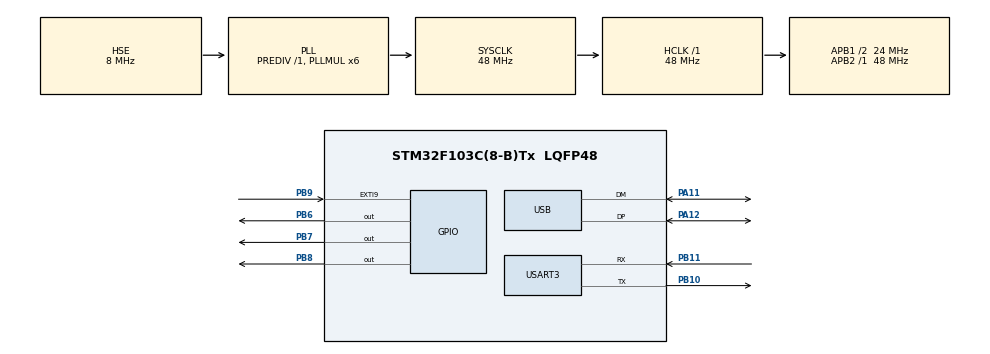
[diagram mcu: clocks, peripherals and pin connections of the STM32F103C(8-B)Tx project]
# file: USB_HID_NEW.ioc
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Mcu.Family=STM32F1
Mcu.Name=STM32F103C(8-B)Tx
Mcu.Package=LQFP48
NVIC.EXTI9_5_IRQn=true\:0\:0\:false\:false\:true\:true\:true
NVIC.PriorityGroup=NVIC_PRIORITYGROUP_4
NVIC.USART3_IRQn=true\:0\:0\:false\:false\:true\:true\:true
NVIC.USB_LP_CAN1_RX0_IRQn=true\:0\:0\:false\:false\:true\:false\:true
PA11.Mode=Device
PA11.Signal=USB_DM
PA12.Mode=Device
PA12.Signal=USB_DP
PA13.Mode=Serial_Wire
PA13.Signal=SYS_JTMS-SWDIO
PA14.Mode=Serial_Wire
PA14.Signal=SYS_JTCK-SWCLK
PB10.Mode=Asynchronous
PB10.Signal=USART3_TX
PB11.GPIO_PuPd=GPIO_PULLDOWN
PB11.Mode=Asynchronous
PB11.Signal=USART3_RX
PB6.GPIO_ModeDefaultOutputPP=GPIO_MODE_OUTPUT_OD
PB6.PinState=GPIO_PIN_SET
PB6.Signal=GPIO_Output
PB7.GPIO_ModeDefaultOutputPP=GPIO_MODE_OUTPUT_OD
PB7.PinState=GPIO_PIN_SET
PB7.Signal=GPIO_Output
PB8.PinState=GPIO_PIN_SET
PB8.Signal=GPIO_Output
PB9.GPIO_PuPd=GPIO_PULLUP
PB9.Signal=GPXTI9
PD0-OSC_IN.Mode=HSE-External-Oscillator
PD0-OSC_IN.Signal=RCC_OSC_IN
PD1-OSC_OUT.Mode=HSE-External-Oscillator
PD1-OSC_OUT.Signal=RCC_OSC_OUT
ProjectManager.HeapSize=0x200
ProjectManager.StackSize=0x400
ProjectManager.TargetToolchain=STM32CubeIDE
RCC.AHBFreq_Value=48000000
RCC.APB1CLKDivider=RCC_HCLK_DIV2
RCC.APB1Freq_Value=24000000
RCC.APB1TimFreq_Value=48000000
RCC.APB2Freq_Value=48000000
RCC.APB2TimFreq_Value=48000000
RCC.HCLKFreq_Value=48000000
RCC.PLLMUL=RCC_PLL_MUL6
RCC.SYSCLKFreq_VALUE=48000000
RCC.SYSCLKSource=RCC_SYSCLKSOURCE_PLLCLK
RCC.USBFreq_Value=48000000
USART3.VirtualMode=VM_ASYNC
USB_DEVICE.CLASS_NAME_FS=HID
USB_DEVICE.MANUFACTURER_STRING=DMB Technics AG
USB_DEVICE.PRODUCT_STRING_HID_FS=DMB Touch2USB
USB_DEVICE.VirtualMode=Hid
USB_DEVICE.VirtualModeFS=Hid_FS
VP_USB_DEVICE_VS_USB_DEVICE_HID_FS.Mode=HID_FS
board=custom

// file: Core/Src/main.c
/* USER CODE BEGIN Header */
/**
  ******************************************************************************
  * @file           : main.c
  * @brief          : Main program body
  ******************************************************************************
  * @attention
  *
  * <h2><center>&copy; Copyright (c) 2019 STMicroelectronics.
  * All rights reserved.</center></h2>
  *
  * This software component is licensed by ST under Ultimate Liberty license
  * SLA0044, the "License"; You may not use this file except in compliance with
  * the License. You may obtain a copy of the License at:
  *                             www.st.com/SLA0044
  *
  ******************************************************************************
  */
/* USER CODE END Header */

#include "main.h"
#include "usb_device.h"

/* USER CODE BEGIN Includes */
#include "i2c.h"
#include "touch.h"
/* USER CODE END Includes */

UART_HandleTypeDef huart3;

/* USER CODE BEGIN PV */
/* Private variables ---------------------------------------------------------*/

/* USER CODE END PV */

void SystemClock_Config(void);
static void MX_GPIO_Init(void);
static void MX_USART3_UART_Init(void);
/* USER CODE BEGIN PFP */
/* Private function prototypes -----------------------------------------------*/

int _write(int fd, char *str, int len)
{
	for(int i=0;i<len;i++)
	{
		//__io_putchar((*str++));
		HAL_UART_Transmit(&huart3, (uint8_t *)&str[i], 1, 0xFFFF);
	}
	return len;
}

/* USER CODE END PFP */

/* USER CODE BEGIN 0 */
volatile uint8_t rxITBuf;
volatile uint8_t rxBuf[100];
volatile uint8_t rxIn = 0;
volatile uint8_t rxOut = 0;

/* USER CODE END 0 */

int main(void)
{

  /* MCU Configuration--------------------------------------------------------*/

  /* Reset of all peripherals, Initializes the Flash interface and the Systick. */
  HAL_Init();

  /* Configure the system clock */
  SystemClock_Config();

  /* Initialize all configured peripherals */
  MX_GPIO_Init();
  MX_USART3_UART_Init();
  MX_USB_DEVICE_Init();
  /* USER CODE BEGIN 2 */
  initI2C();
  initTouch();
  HAL_UART_Receive_IT(&huart3, (uint8_t*)&rxITBuf, 1);
  /* USER CODE END 2 */

  /* Infinite loop */
  while (1)
  {

    /* USER CODE BEGIN 3 */
	  toucuProc();
  }
  /* USER CODE END 3 */
}

void SystemClock_Config(void)
{
  RCC_OscInitTypeDef RCC_OscInitStruct = {0};
  RCC_ClkInitTypeDef RCC_ClkInitStruct = {0};
  RCC_PeriphCLKInitTypeDef PeriphClkInit = {0};

  /** Initializes the CPU, AHB and APB busses clocks
  */
  RCC_OscInitStruct.OscillatorType = RCC_OSCILLATORTYPE_HSE;
  RCC_OscInitStruct.HSEState = RCC_HSE_ON;
  RCC_OscInitStruct.HSEPredivValue = RCC_HSE_PREDIV_DIV1;
  RCC_OscInitStruct.HSIState = RCC_HSI_ON;
  RCC_OscInitStruct.PLL.PLLState = RCC_PLL_ON;
  RCC_OscInitStruct.PLL.PLLSource = RCC_PLLSOURCE_HSE;
  RCC_OscInitStruct.PLL.PLLMUL = RCC_PLL_MUL6;
  if (HAL_RCC_OscConfig(&RCC_OscInitStruct) != HAL_OK)
  {
    Error_Handler();
  }
  /** Initializes the CPU, AHB and APB busses clocks
  */
  RCC_ClkInitStruct.ClockType = RCC_CLOCKTYPE_HCLK|RCC_CLOCKTYPE_SYSCLK
                              |RCC_CLOCKTYPE_PCLK1|RCC_CLOCKTYPE_PCLK2;
  RCC_ClkInitStruct.SYSCLKSource = RCC_SYSCLKSOURCE_PLLCLK;
  RCC_ClkInitStruct.AHBCLKDivider = RCC_SYSCLK_DIV1;
  RCC_ClkInitStruct.APB1CLKDivider = RCC_HCLK_DIV2;
  RCC_ClkInitStruct.APB2CLKDivider = RCC_HCLK_DIV1;

  if (HAL_RCC_ClockConfig(&RCC_ClkInitStruct, FLASH_LATENCY_1) != HAL_OK)
  {
    Error_Handler();
  }
  PeriphClkInit.PeriphClockSelection = RCC_PERIPHCLK_USB;
  PeriphClkInit.UsbClockSelection = RCC_USBCLKSOURCE_PLL;
  if (HAL_RCCEx_PeriphCLKConfig(&PeriphClkInit) != HAL_OK)
  {
    Error_Handler();
  }
}

static void MX_USART3_UART_Init(void)
{

  huart3.Instance = USART3;
  huart3.Init.BaudRate = 115200;
  huart3.Init.WordLength = UART_WORDLENGTH_8B;
  huart3.Init.StopBits = UART_STOPBITS_1;
  huart3.Init.Parity = UART_PARITY_NONE;
  huart3.Init.Mode = UART_MODE_TX_RX;
  huart3.Init.HwFlowCtl = UART_HWCONTROL_NONE;
  huart3.Init.OverSampling = UART_OVERSAMPLING_16;
  if (HAL_UART_Init(&huart3) != HAL_OK)
  {
    Error_Handler();
  }

}

static void MX_GPIO_Init(void)
{
  GPIO_InitTypeDef GPIO_InitStruct = {0};

  /* GPIO Ports Clock Enable */
  __HAL_RCC_GPIOD_CLK_ENABLE();
  __HAL_RCC_GPIOB_CLK_ENABLE();
  __HAL_RCC_GPIOA_CLK_ENABLE();

  /*Configure GPIO pin Output Level */
  HAL_GPIO_WritePin(GPIOB, GPIO_PIN_6|GPIO_PIN_7|GPIO_PIN_8, GPIO_PIN_SET);

  /*Configure GPIO pins : PB6 PB7 */
  GPIO_InitStruct.Pin = GPIO_PIN_6|GPIO_PIN_7;
  GPIO_InitStruct.Mode = GPIO_MODE_OUTPUT_OD;
  GPIO_InitStruct.Pull = GPIO_NOPULL;
  GPIO_InitStruct.Speed = GPIO_SPEED_FREQ_LOW;
  HAL_GPIO_Init(GPIOB, &GPIO_InitStruct);

  /*Configure GPIO pin : PB8 */
  GPIO_InitStruct.Pin = GPIO_PIN_8;
  GPIO_InitStruct.Mode = GPIO_MODE_OUTPUT_PP;
  GPIO_InitStruct.Pull = GPIO_NOPULL;
  GPIO_InitStruct.Speed = GPIO_SPEED_FREQ_LOW;
  HAL_GPIO_Init(GPIOB, &GPIO_InitStruct);

  /*Configure GPIO pin : PB9 */
  GPIO_InitStruct.Pin = GPIO_PIN_9;
  GPIO_InitStruct.Mode = GPIO_MODE_IT_RISING;
  GPIO_InitStruct.Pull = GPIO_PULLUP;
  HAL_GPIO_Init(GPIOB, &GPIO_InitStruct);

  /* EXTI interrupt init*/
  HAL_NVIC_SetPriority(EXTI9_5_IRQn, 0, 0);
  HAL_NVIC_EnableIRQ(EXTI9_5_IRQn);

}

/* USER CODE BEGIN 4 */

void HAL_UART_RxCpltCallback(UART_HandleTypeDef *huart)
{
	if(huart->Instance == USART3)
	{
		rxBuf[rxIn] = rxITBuf;
		rxIn++;
		if(rxIn >= 100)
			rxIn = 0;
		HAL_UART_Receive_IT(huart, (uint8_t*)&rxITBuf, 1);
	}
}
/* USER CODE END 4 */

void Error_Handler(void)
{
  while(1)
  {
  }
}

/************************ (C) COPYRIGHT STMicroelectronics *****END OF FILE****/
